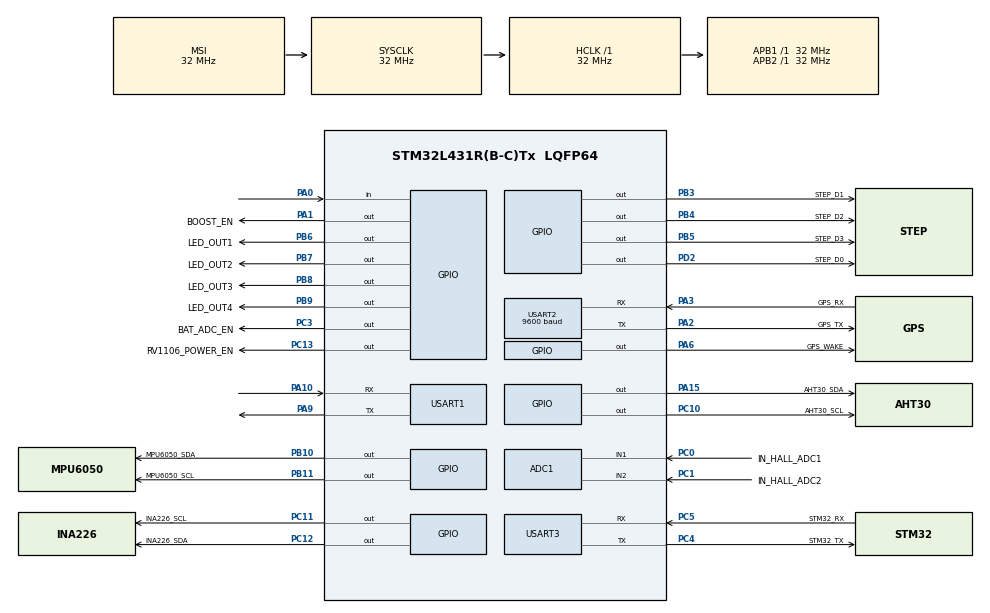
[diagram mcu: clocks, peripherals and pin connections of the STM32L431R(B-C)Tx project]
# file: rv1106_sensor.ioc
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ADC1.Channel-0\#ChannelRegularConversion=ADC_CHANNEL_1
ADC1.ClockPrescaler=ADC_CLOCK_ASYNC_DIV2
ADC1.NbrOfConversionFlag=1
ADC1.OffsetNumber-0\#ChannelRegularConversion=ADC_OFFSET_NONE
ADC1.OversamplingMode=ENABLE
ADC1.Rank-0\#ChannelRegularConversion=1
ADC1.SamplingTime-0\#ChannelRegularConversion=ADC_SAMPLETIME_2CYCLES_5
ADC1.master=1
Dma.Request0=USART1_RX
Dma.Request1=USART2_RX
Dma.Request2=USART3_RX
Dma.USART1_RX.0.Direction=DMA_PERIPH_TO_MEMORY
Dma.USART1_RX.0.Instance=DMA1_Channel5
Dma.USART1_RX.0.MemDataAlignment=DMA_MDATAALIGN_BYTE
Dma.USART1_RX.0.MemInc=DMA_MINC_ENABLE
Dma.USART1_RX.0.Mode=DMA_NORMAL
Dma.USART1_RX.0.PeriphDataAlignment=DMA_PDATAALIGN_BYTE
Dma.USART1_RX.0.PeriphInc=DMA_PINC_DISABLE
Dma.USART1_RX.0.Priority=DMA_PRIORITY_LOW
Dma.USART2_RX.1.Direction=DMA_PERIPH_TO_MEMORY
Dma.USART2_RX.1.Instance=DMA1_Channel6
Dma.USART2_RX.1.MemDataAlignment=DMA_MDATAALIGN_BYTE
Dma.USART2_RX.1.MemInc=DMA_MINC_ENABLE
Dma.USART2_RX.1.Mode=DMA_NORMAL
Dma.USART2_RX.1.PeriphDataAlignment=DMA_PDATAALIGN_BYTE
Dma.USART2_RX.1.PeriphInc=DMA_PINC_DISABLE
Dma.USART2_RX.1.Priority=DMA_PRIORITY_LOW
Dma.USART3_RX.2.Direction=DMA_PERIPH_TO_MEMORY
Dma.USART3_RX.2.Instance=DMA1_Channel3
Dma.USART3_RX.2.MemDataAlignment=DMA_MDATAALIGN_BYTE
Dma.USART3_RX.2.MemInc=DMA_MINC_ENABLE
Dma.USART3_RX.2.Mode=DMA_NORMAL
Dma.USART3_RX.2.PeriphDataAlignment=DMA_PDATAALIGN_BYTE
Dma.USART3_RX.2.PeriphInc=DMA_PINC_DISABLE
Dma.USART3_RX.2.Priority=DMA_PRIORITY_LOW
FREERTOS.Tasks01=defaultTask,0,2048,StartDefaultTask,Default,NULL,Dynamic,NULL,NULL
FREERTOS.configTOTAL_HEAP_SIZE=10240
Mcu.Family=STM32L4
Mcu.Name=STM32L431R(B-C)Tx
Mcu.Package=LQFP64
NVIC.DMA1_Channel3_IRQn=true\:5\:0\:false\:false\:true\:true\:false\:true\:true
NVIC.DMA1_Channel5_IRQn=true\:5\:0\:false\:false\:true\:true\:false\:true\:true
NVIC.DMA1_Channel6_IRQn=true\:5\:0\:false\:false\:true\:true\:false\:true\:true
NVIC.PriorityGroup=NVIC_PRIORITYGROUP_4
NVIC.TIM6_DAC_IRQn=true\:15\:0\:false\:false\:true\:false\:false\:true\:true
NVIC.TimeBase=TIM6_DAC_IRQn
NVIC.TimeBaseIP=TIM6
NVIC.USART1_IRQn=true\:5\:0\:false\:false\:true\:true\:true\:true\:true
NVIC.USART2_IRQn=true\:5\:0\:false\:false\:true\:true\:true\:true\:true
NVIC.USART3_IRQn=true\:5\:0\:false\:false\:true\:true\:true\:true\:true
PA0.GPIO_PuPd=GPIO_PULLDOWN
PA0.Signal=GPIO_Input
PA1.GPIO_Label=BOOST_EN
PA1.Signal=GPIO_Output
PA10.Mode=Asynchronous
PA10.Signal=USART1_RX
PA13\ (JTMS-SWDIO).Mode=Serial_Wire
PA13\ (JTMS-SWDIO).Signal=SYS_JTMS-SWDIO
PA14\ (JTCK-SWCLK).Mode=Serial_Wire
PA14\ (JTCK-SWCLK).Signal=SYS_JTCK-SWCLK
PA15\ (JTDI).GPIO_Label=AHT30_SDA
PA15\ (JTDI).Signal=GPIO_Output
PA2.GPIO_Label=GPS_TX
PA2.Mode=Asynchronous
PA2.Signal=USART2_TX
PA3.GPIO_Label=GPS_RX
PA3.Mode=Asynchronous
PA3.Signal=USART2_RX
PA6.GPIO_Label=GPS_WAKE
PA6.Signal=GPIO_Output
PA9.Mode=Asynchronous
PA9.Signal=USART1_TX
PB10.GPIO_Label=MPU6050_SDA
PB10.Signal=GPIO_Output
PB11.GPIO_Label=MPU6050_SCL
PB11.Signal=GPIO_Output
PB3\ (JTDO-TRACESWO).GPIO_Label=STEP_D1
PB3\ (JTDO-TRACESWO).Signal=GPIO_Output
PB4\ (NJTRST).GPIO_Label=STEP_D2
PB4\ (NJTRST).Signal=GPIO_Output
PB5.GPIO_Label=STEP_D3
PB5.Signal=GPIO_Output
PB6.GPIO_Label=LED_OUT1
PB6.Signal=GPIO_Output
PB7.GPIO_Label=LED_OUT2
PB7.Signal=GPIO_Output
PB8.GPIO_Label=LED_OUT3
PB8.Signal=GPIO_Output
PB9.GPIO_Label=LED_OUT4
PB9.Signal=GPIO_Output
PC0.GPIO_Label=IN_HALL_ADC1
PC0.Signal=ADCx_IN1
PC1.GPIO_Label=IN_HALL_ADC2
PC1.Signal=ADCx_IN2
PC10.GPIO_Label=AHT30_SCL
PC10.Signal=GPIO_Output
PC11.GPIO_Label=INA226_SCL
PC11.Signal=GPIO_Output
PC12.GPIO_Label=INA226_SDA
PC12.Signal=GPIO_Output
PC13.GPIO_Label=RV1106_POWER_EN
PC13.Signal=GPIO_Output
PC14-OSC32_IN\ (PC14).Mode=LSE-External-Oscillator
PC14-OSC32_IN\ (PC14).Signal=RCC_OSC32_IN
PC15-OSC32_OUT\ (PC15).Mode=LSE-External-Oscillator
PC15-OSC32_OUT\ (PC15).Signal=RCC_OSC32_OUT
PC3.GPIO_Label=BAT_ADC_EN
PC3.Signal=GPIO_Output
PC4.GPIO_Label=STM32_TX
PC4.Mode=Asynchronous
PC4.Signal=USART3_TX
PC5.GPIO_Label=STM32_RX
PC5.Mode=Asynchronous
PC5.Signal=USART3_RX
PD2.GPIO_Label=STEP_D0
PD2.Signal=GPIO_Output
PH0-OSC_IN\ (PH0).Mode=HSE-External-Oscillator
PH0-OSC_IN\ (PH0).Signal=RCC_OSC_IN
PH1-OSC_OUT\ (PH1).Mode=HSE-External-Oscillator
PH1-OSC_OUT\ (PH1).Signal=RCC_OSC_OUT
ProjectManager.HeapSize=0x4000
ProjectManager.StackSize=0x2000
ProjectManager.TargetToolchain=MDK-ARM V5.32
RCC.ADCFreq_Value=64000000
RCC.AHBFreq_Value=32000000
RCC.APB1Freq_Value=32000000
RCC.APB1TimFreq_Value=32000000
RCC.APB2Freq_Value=32000000
RCC.APB2TimFreq_Value=32000000
RCC.CortexFreq_Value=32000000
RCC.HCLKFreq_Value=32000000
RCC.HSE_VALUE=8000000
RCC.HSI48_VALUE=48000000
RCC.HSI_VALUE=16000000
RCC.MSIClockRange=RCC_MSIRANGE_10
RCC.MSI_VALUE=32000000
RCC.PLLM=2
RCC.SYSCLKFreq_VALUE=32000000
RCC.VCOOutputFreq_Value=128000000
SH.ADCx_IN1.0=ADC1_IN1,IN1-Single-Ended
SH.ADCx_IN2.0=ADC1_IN2,IN2-Single-Ended
USART1.VirtualMode-Asynchronous=VM_ASYNC
USART2.BaudRate=9600
USART2.VirtualMode-Asynchronous=VM_ASYNC
USART3.VirtualMode-Asynchronous=VM_ASYNC
VP_FREERTOS_VS_CMSIS_V1.Mode=CMSIS_V1
VP_SYS_VS_tim6.Mode=TIM6
board=custom

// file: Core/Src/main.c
/* USER CODE BEGIN Header */
/**
  ******************************************************************************
  * @file           : main.c
  * @brief          : Main program body
  ******************************************************************************
  * @attention
  *
  * Copyright (c) 2026 STMicroelectronics.
  * All rights reserved.
  *
  * This software is licensed under terms that can be found in the LICENSE file
  * in the root directory of this software component.
  * If no LICENSE file comes with this software, it is provided AS-IS.
  *
  ******************************************************************************
  */
/* USER CODE END Header */
#include "main.h"
#include "cmsis_os.h"
#include "adc.h"
#include "dma.h"
#include "usart.h"
#include "gpio.h"

/* USER CODE BEGIN Includes */
#include <stdio.h>
#include "bsp_power.h"
#include "soft_i2c.h"
#include "mpu6050.h"
#include "aht30.h"
#include "ina226.h"
#include "gps_module.h"
#include "bsp_adc.h"
#include "stepper.h"
/* USER CODE END Includes */

/* USER CODE BEGIN PV */
SoftI2C_Handle_t hi2c_mpu = {GPIOB, GPIO_PIN_11, GPIOB, GPIO_PIN_10}; // MPU6050: SCL=PB11, SDA=PB10
SoftI2C_Handle_t hi2c_aht = {GPIOC, GPIO_PIN_10, GPIOA, GPIO_PIN_15}; // AHT30: SCL=PC10, SDA=PA15
SoftI2C_Handle_t hi2c_ina = {GPIOC, GPIO_PIN_11, GPIOC, GPIO_PIN_12}; // INA226: SCL=PC11, SDA=PC12
/* USER CODE END PV */

void SystemClock_Config(void);
void MX_FREERTOS_Init(void);

/* USER CODE BEGIN 0 */
#ifdef __GNUC__
/* With GCC, small printf (option LD Linker->Libraries->Small printf
   set to 'Yes') calls __io_putchar() */
int __io_putchar(int ch)
#else
int fputc(int ch, FILE *f)
#endif /* __GNUC__ */
{
  /* Place your implementation of fputc here */
  /* e.g. write a character to the USART1 and Loop until the end of transmission */
  HAL_UART_Transmit(&huart1, (uint8_t *)&ch, 1, HAL_MAX_DELAY);
  return ch;
}

// Support for printf in some GCC environments without syscalls
int _write(int file, char *ptr, int len) {
    HAL_UART_Transmit(&huart1, (uint8_t *)ptr, len, HAL_MAX_DELAY);
    return len;
}
/* USER CODE END 0 */

int main(void)
{

  /* MCU Configuration--------------------------------------------------------*/

  /* Reset of all peripherals, Initializes the Flash interface and the Systick. */
  HAL_Init();

  /* Configure the system clock */
  SystemClock_Config();

  /* Initialize all configured peripherals */
  MX_GPIO_Init();
  MX_DMA_Init();
  MX_ADC1_Init();
  MX_USART1_UART_Init();
  MX_USART2_UART_Init();
  MX_USART3_UART_Init();
  /* USER CODE BEGIN 2 */
  printf("\r\n=== STM32 Sensor Hub Test Start ===\r\n");

  // 1. Power Up Sensors
  BSP_Power_Init();
  BSP_Power_SetSensorPower(1);
  BSP_Power_SetRV1106Power(1);
  HAL_Delay(200);

  // 2. Initialize I2C Buses
  SoftI2C_Init(&hi2c_mpu);
  SoftI2C_Init(&hi2c_aht);
  SoftI2C_Init(&hi2c_ina);

  // 3. Initialize Sensors
  if (MPU6050_Init(&hi2c_mpu) == 0) {
      printf("MPU6050 Init OK\r\n");
  }

  if (AHT30_Init(&hi2c_aht) == 0) {
      printf("AHT30 Init OK\r\n");
  }

  if (INA226_Init(&hi2c_ina) == 0) {
      printf("INA226 Init OK\r\n");
  }

  // 4. Initialize Stepper
  Stepper_Init();

  // 5. Initialize GPS (Already powered by SensorPower)
  GPS_Init();

  /* USER CODE END 2 */

  /* Call init function for freertos objects (in cmsis_os2.c) */
  MX_FREERTOS_Init();

  /* Start scheduler */
  osKernelStart();

  /* We should never get here as control is now taken by the scheduler */

  /* Infinite loop */
  while (1)
  {

  }
}

void SystemClock_Config(void)
{
  RCC_OscInitTypeDef RCC_OscInitStruct = {0};
  RCC_ClkInitTypeDef RCC_ClkInitStruct = {0};

  /** Configure the main internal regulator output voltage
  */
  if (HAL_PWREx_ControlVoltageScaling(PWR_REGULATOR_VOLTAGE_SCALE1) != HAL_OK)
  {
    Error_Handler();
  }

  /** Configure LSE Drive Capability
  */
  HAL_PWR_EnableBkUpAccess();
  __HAL_RCC_LSEDRIVE_CONFIG(RCC_LSEDRIVE_LOW);

  /** Initializes the RCC Oscillators according to the specified parameters
  * in the RCC_OscInitTypeDef structure.
  */
  RCC_OscInitStruct.OscillatorType = RCC_OSCILLATORTYPE_LSE|RCC_OSCILLATORTYPE_MSI;
  RCC_OscInitStruct.LSEState = RCC_LSE_ON;
  RCC_OscInitStruct.MSIState = RCC_MSI_ON;
  RCC_OscInitStruct.MSICalibrationValue = 0;
  RCC_OscInitStruct.MSIClockRange = RCC_MSIRANGE_10;
  RCC_OscInitStruct.PLL.PLLState = RCC_PLL_NONE;
  if (HAL_RCC_OscConfig(&RCC_OscInitStruct) != HAL_OK)
  {
    Error_Handler();
  }

  /** Initializes the CPU, AHB and APB buses clocks
  */
  RCC_ClkInitStruct.ClockType = RCC_CLOCKTYPE_HCLK|RCC_CLOCKTYPE_SYSCLK
                              |RCC_CLOCKTYPE_PCLK1|RCC_CLOCKTYPE_PCLK2;
  RCC_ClkInitStruct.SYSCLKSource = RCC_SYSCLKSOURCE_MSI;
  RCC_ClkInitStruct.AHBCLKDivider = RCC_SYSCLK_DIV1;
  RCC_ClkInitStruct.APB1CLKDivider = RCC_HCLK_DIV1;
  RCC_ClkInitStruct.APB2CLKDivider = RCC_HCLK_DIV1;

  if (HAL_RCC_ClockConfig(&RCC_ClkInitStruct, FLASH_LATENCY_1) != HAL_OK)
  {
    Error_Handler();
  }

  /** Enable MSI Auto calibration
  */
  HAL_RCCEx_EnableMSIPLLMode();
}

void HAL_TIM_PeriodElapsedCallback(TIM_HandleTypeDef *htim)
{
  if (htim->Instance == TIM6)
  {
    HAL_IncTick();
  }
}

void Error_Handler(void)
{
  __disable_irq();
  while (1)
  {
  }
}

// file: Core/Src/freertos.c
/* USER CODE BEGIN Header */
/**
  ******************************************************************************
  * File Name          : freertos.c
  * Description        : Code for freertos applications
  ******************************************************************************
  * @attention
  *
  * Copyright (c) 2026 STMicroelectronics.
  * All rights reserved.
  *
  * This software is licensed under terms that can be found in the LICENSE file
  * in the root directory of this software component.
  * If no LICENSE file comes with this software, it is provided AS-IS.
  *
  ******************************************************************************
  */
/* USER CODE END Header */

#include "FreeRTOS.h"
#include "task.h"
#include "main.h"
#include "cmsis_os.h"

/* USER CODE BEGIN Includes */
#include <stdio.h>
#include "protocol.h"
#include "stepper.h"
#include "bsp_adc.h"
#include "gps_module.h"
#include "ina226.h"
#include "aht30.h"
#include "mpu6050.h"
#include "soft_i2c.h"
#include "bsp_power.h"
#include "task_queue.h"
#include "key_handler.h"
#include "business_handler.h"
#include "led_handler.h"
#include "json_parser.h"
#include "usart1_handler.h"
#include "protocol.h"
#include "aht30.h"
#include "ina226.h"
#include "bsp_adc.h"
#include "stepper.h"
#include <math.h>

extern SoftI2C_Handle_t hi2c_mpu;
extern SoftI2C_Handle_t hi2c_aht;
extern SoftI2C_Handle_t hi2c_ina;

extern uint8_t g_usart2_rx_buf[];
extern volatile uint16_t g_usart2_rx_len;
extern volatile uint8_t g_usart2_data_ready;

extern uint8_t g_usart3_rx_buf[];
extern volatile uint16_t g_usart3_rx_len;
extern volatile uint8_t g_usart3_data_ready;
/* USER CODE END Includes */

/* USER CODE BEGIN Variables */
osThreadId gpsBridgeTaskHandle;
osThreadId ledBlinkTaskHandle;
osThreadId keyScanTaskHandle;
volatile uint32_t g_pc1_adc = 0;
volatile float g_gps_lat = 0.0f;
volatile float g_gps_lon = 0.0f;
volatile uint8_t g_gps_sat = 0;
/* USER CODE END Variables */
osThreadId defaultTaskHandle;

/* USER CODE BEGIN FunctionPrototypes */

void StartGpsBridgeTask(void const * argument);
void StartLedBlinkTask(void const * argument);
void StartKeyScanTask(void const * argument);
void JsonParser_Task(void const * argument);
void Usart1Handler_Task(void const * argument);
void SensorReport_Task(void const * argument);
/* USER CODE END FunctionPrototypes */

void StartDefaultTask(void const * argument);

void MX_FREERTOS_Init(void); /* (MISRA C 2004 rule 8.1) */

/* GetIdleTaskMemory prototype (linked to static allocation support) */
void vApplicationGetIdleTaskMemory( StaticTask_t **ppxIdleTaskTCBBuffer, StackType_t **ppxIdleTaskStackBuffer, uint32_t *pulIdleTaskStackSize );

/* USER CODE BEGIN GET_IDLE_TASK_MEMORY */
static StaticTask_t xIdleTaskTCBBuffer;
static StackType_t xIdleStack[configMINIMAL_STACK_SIZE];

void vApplicationGetIdleTaskMemory( StaticTask_t **ppxIdleTaskTCBBuffer, StackType_t **ppxIdleTaskStackBuffer, uint32_t *pulIdleTaskStackSize )
{
  *ppxIdleTaskTCBBuffer = &xIdleTaskTCBBuffer;
  *ppxIdleTaskStackBuffer = &xIdleStack[0];
  *pulIdleTaskStackSize = configMINIMAL_STACK_SIZE;
  /* place for user code */
}
/* USER CODE END GET_IDLE_TASK_MEMORY */

void MX_FREERTOS_Init(void) {

  /* USER CODE BEGIN RTOS_QUEUES */
  /* add queues, ... */
  TaskQueue_Init();
  /* USER CODE END RTOS_QUEUES */

  /* Create the thread(s) */
  /* definition and creation of defaultTask */
  osThreadDef(defaultTask, StartDefaultTask, osPriorityNormal, 0, 2048);
  defaultTaskHandle = osThreadCreate(osThread(defaultTask), NULL);

  /* USER CODE BEGIN RTOS_THREADS */
  osThreadDef(gpsBridgeTask, StartGpsBridgeTask, osPriorityLow, 0, 512);
  gpsBridgeTaskHandle = osThreadCreate(osThread(gpsBridgeTask), NULL);
  if (gpsBridgeTaskHandle == NULL) {
  }
  osThreadDef(ledBlinkTask, StartLedBlinkTask, osPriorityNormal, 0, 512);
  ledBlinkTaskHandle = osThreadCreate(osThread(ledBlinkTask), NULL);
  if (ledBlinkTaskHandle == NULL) {
  }
  osThreadDef(keyScanTask, KeyHandler_ScanTask, osPriorityNormal, 0, 512);
  keyScanTaskHandle = osThreadCreate(osThread(keyScanTask), NULL);
  if (keyScanTaskHandle == NULL) {
  }
  osThreadDef(businessTask, BusinessHandler_Task, osPriorityNormal, 0, 512);
  osThreadCreate(osThread(businessTask), NULL);
  osThreadDef(ledTask, LedHandler_Task, osPriorityLow, 0, 256);
  osThreadCreate(osThread(ledTask), NULL);
  osThreadDef(jsonTask, JsonParser_Task, osPriorityNormal, 0, 512);
  osThreadCreate(osThread(jsonTask), NULL);
  osThreadDef(usart1Task, Usart1Handler_Task, osPriorityNormal, 0, 512);
  osThreadCreate(osThread(usart1Task), NULL);
  osThreadDef(sensorReportTask, SensorReport_Task, osPriorityNormal, 0, 1024);
  osThreadCreate(osThread(sensorReportTask), NULL);
  /* USER CODE END RTOS_THREADS */

}

void StartDefaultTask(void const * argument)
{
  for(;;)
  {
    osDelay(1);
  }
}

/* USER CODE BEGIN Application */
void StartGpsBridgeTask(void const * argument)
{
  char nmea_buf[128];
  uint16_t idx = 0;
  GPS_Data_t gps_data;

  printf("GPS Bridge Task Started (DMA+IDLE)\r\n");

  for(;;)
  {
    if (g_usart2_data_ready) {
      g_usart2_data_ready = 0;

      if (g_usart2_rx_len > 0) {
        /* 处理接收到的数据 */
        for (uint16_t i = 0; i < g_usart2_rx_len; i++) {
          char c = (char)g_usart2_rx_buf[i];
          if (c == '\n' || c == '\r') {
            if (idx > 0) {
              nmea_buf[idx] = '\0';
              if (GPS_ParseGNGGA(nmea_buf, &gps_data) == 0) {
                taskENTER_CRITICAL();
                g_gps_lat = gps_data.Latitude;
                g_gps_lon = gps_data.Longitude;
                g_gps_sat = gps_data.Satellites;
                taskEXIT_CRITICAL();

                /* 打印GPS数据到串口 */
                printf("GPS_DATA: lat=%.6f, lon=%.6f, sat=%d\r\n",
                       gps_data.Latitude, gps_data.Longitude, gps_data.Satellites);
              }
              idx = 0;
            }
          } else {
            if (idx < (sizeof(nmea_buf) - 1)) {
              nmea_buf[idx++] = c;
            } else {
              idx = 0;
            }
          }
        }
      }
    }

    osDelay(10);
  }
}

/**
 * LED 闪烁任务（主功能描述）
 * @param {void const *} argument - 任务参数（未使用）
 * @returns {void} 无返回值
 */
void StartLedBlinkTask(void const * argument)
{
  uint8_t led_on = 0;

  for(;;)
  {
    led_on = !led_on;
    HAL_GPIO_WritePin(GPIOB, LED_OUT1_Pin|LED_OUT2_Pin|LED_OUT3_Pin|LED_OUT4_Pin, led_on ? GPIO_PIN_RESET : GPIO_PIN_SET);
    osDelay(500);
  }
}

/**
 * LED处理任务
 * @param argument 任务参数（未使用）
 */
void LedHandler_Task(void const * argument)
{
    extern volatile float g_gps_lat;
    extern volatile float g_gps_lon;
    extern volatile uint8_t g_gps_sat;

    TickType_t last_tick = xTaskGetTickCount();

    /* 初始化LED */
    LedHandler_Init();

    for(;;)
    {
        /* 更新系统LED（每100ms闪烁） */
        LedHandler_UpdateSystemLed();

        /* 每500ms更新一次GPS LED */
        TickType_t now = xTaskGetTickCount();
        if ((now - last_tick) >= 500) {
            last_tick = now;
            LedHandler_UpdateGpsLed(g_gps_sat);
        }

        osDelay(100);
    }
}

/**
 * 内存分配失败钩子（主功能描述）
 * @returns {void} 无返回值
 */
void vApplicationMallocFailedHook(void)
{
  HAL_GPIO_WritePin(GPIOB, LED_OUT1_Pin|LED_OUT2_Pin|LED_OUT3_Pin|LED_OUT4_Pin, GPIO_PIN_RESET);
  printf("MallocFailedHook\r\n");
  for(;;)
  {
  }
}

/**
 * 栈溢出钩子（主功能描述）
 * @param {TaskHandle_t} xTask - 发生溢出的任务句柄
 * @param {char *} pcTaskName - 发生溢出的任务名
 * @returns {void} 无返回值
 */
void vApplicationStackOverflowHook(TaskHandle_t xTask, char *pcTaskName)
{
  (void)xTask;
  (void)pcTaskName;
  HAL_GPIO_WritePin(GPIOB, LED_OUT1_Pin|LED_OUT2_Pin|LED_OUT3_Pin|LED_OUT4_Pin, GPIO_PIN_RESET);
  printf("StackOverflowHook\r\n");
  for(;;)
  {
  }
}

/* 姿态解算变量 - 互补滤波 */
static float roll_angle = 0.0f;
static float pitch_angle = 0.0f;
static float yaw_angle = 0.0f;

/**
 * @brief 使用互补滤波计算姿态角
 * @param ax, ay, az 加速度 (g)
 * @param gx, gy, gz 角速度 (°/s)
 * @param dt 时间间隔 (s)
 * @param roll, pitch, yaw 输出姿态角
 *
 * 原理：
 * - 加速度计：测量重力方向，静态准确，动态受干扰
 * - 陀螺仪：测量旋转角速度，积分得角度，但会漂移
 * - 互补滤波：高频用陀螺仪，低频用加速度计
 */
static void CalculateAttitude(float ax, float ay, float az,
                               float gx, float gy, float gz,
                               float dt,
                               float *roll, float *pitch, float *yaw)
{
    /* 1. 加速度计计算姿态角（只在静态时准确）
     *
     * 当设备静止时，加速度计只测到重力加速度(0,0,1g)
     * 倾斜时，重力分量分布在三个轴上
     *
     * roll:  绕X轴旋转，由Y和Z轴重力分量决定
     * pitch: 绕Y轴旋转，由X和Z轴重力分量决定
     */
    float acc_pitch = atan2f(ay, az) * 57.29578f;  /* rad to deg */
    float acc_roll = atan2f(-ax, sqrtf(ay * ay + az * az)) * 57.29578f;

    /* 2. 互补滤波系数
     *
     * tau = 时间常数，决定信任陀螺仪还是加速度计
     * alpha = tau / (tau + dt)
     *
     * 如果dt=1s，tau=0.1s：
     * alpha = 0.1 / (0.1 + 1) = 0.09
     * 意味着主要信任加速度计（91%），陀螺仪只用于短期修正（9%）
     */
    const float tau = 0.1f;  /* 时间常数0.1秒 */
    float alpha = tau / (tau + dt);
    float beta = 1.0f - alpha;

    /* 3. 互补滤波融合
     *
     * 新角度 = 陀螺仪积分角度 * alpha + 加速度计角度 * beta
     *
     * 陀螺仪积分：当前角度 + 角速度 * 时间
     * 这给出了短时间内的精确变化*/
   /* 互补滤波融合
     *
     * 注意：陀螺仪的gx对应pitch变化，gy对应roll变化
     * 当设备绕X轴旋转(roll)时，Y轴陀螺仪有输出
     * 当设备绕Y轴旋转(pitch)时，X轴陀螺仪有输出
     *
     * roll取反：使翻滚方向与右手定则一致
     * pitch取反：使俯仰方向与右手定则一致
     */
    pitch_angle = -(alpha * (pitch_angle + gx * dt) + beta * acc_pitch);
    roll_angle = -(alpha * (roll_angle + gy * dt) + beta * acc_roll);

    /* 4. 偏航角（Yaw）
     *
     * 偏航角是绕Z轴旋转，重力方向不变，所以加速度计无法测量
     * 只能靠陀螺仪积分，会随时间漂移
     * 如果需要准确偏航角，需要磁力计（电子罗盘）
     */
    yaw_angle = yaw_angle + gz * dt;

    /* 限制角度范围在 -180 ~ +180 度 */
    while (roll_angle > 180.0f) roll_angle -= 360.0f;
    while (roll_angle < -180.0f) roll_angle += 360.0f;
    while (pitch_angle > 180.0f) pitch_angle -= 360.0f;
    while (pitch_angle < -180.0f) pitch_angle += 360.0f;
    while (yaw_angle > 180.0f) yaw_angle -= 360.0f;
    while (yaw_angle < -180.0f) yaw_angle += 360.0f;

    /* 输出 */
    *roll = roll_angle;
    *pitch = pitch_angle;
    *yaw = yaw_angle;
}

/**
 * @brief 传感器数据上报任务
 * @details 每秒采集一次所有传感器数据，并以JSON格式发送到串口3
 * @param argument 任务参数（未使用）
 */
void SensorReport_Task(void const * argument)
{
    Sensor_Report_t report;
    MPU6050_Data_t mpu_data;
    AHT30_Data_t aht_data;
    INA226_Data_t ina_data;
    uint32_t last_sensor_read = 0;
    uint32_t last_json_send = 0;
    uint32_t current_time;

    printf("Sensor Report Task Started (1Hz to USART3)\r\n");

    /* 初始化时间 */
    last_sensor_read = HAL_GetTick();

    for(;;)
    {
        current_time = HAL_GetTick();

        /* 每100ms读取一次MPU6050并进行姿态解算（10Hz）
         * 这样陀螺仪积分的时间间隔短，误差小
         */
        if ((current_time - last_sensor_read) >= 100) {
            float dt = (current_time - last_sensor_read) / 1000.0f;  /* ms to s */
            last_sensor_read = current_time;

            /* 读取MPU6050数据 */
            MPU6050_Read_All(&hi2c_mpu, &mpu_data);
            report.acc_x = mpu_data.Ax;
            report.acc_y = mpu_data.Ay;
            report.acc_z = mpu_data.Az;
            report.gyro_x = mpu_data.Gx;
            report.gyro_y = mpu_data.Gy;
            report.gyro_z = mpu_data.Gz;
            report.mpu_temp = mpu_data.Temperature;

            /* 姿态解算（10Hz更新） */
            CalculateAttitude(mpu_data.Ax, mpu_data.Ay, mpu_data.Az,
                              mpu_data.Gx, mpu_data.Gy, mpu_data.Gz,
                              dt,
                              &report.roll, &report.pitch, &report.yaw);
        }

        /* 每1000ms发送一次JSON数据（1Hz） */
        if ((current_time - last_json_send) >= 1000) {
            last_json_send = current_time;

            /* 读取其他传感器数据 */
            AHT30_Read_Data(&hi2c_aht, &aht_data);
            report.temp_c = aht_data.Temperature;
            report.humi_pct = aht_data.Humidity;

            INA226_Read_Data(&hi2c_ina, &ina_data);
            report.bus_voltage_v = ina_data.Voltage_V;
            report.shunt_voltage_mv = ina_data.ShuntVoltage_mV;
            report.current_a = ina_data.Current_A;
            report.power_w = ina_data.Power_W;

            report.battery_v = BSP_GetBatteryVoltage();
            report.hall1_val = BSP_GetHallSensor1();
            report.hall2_val = BSP_GetHallSensor2();

            taskENTER_CRITICAL();
            report.latitude = g_gps_lat;
            report.longitude = g_gps_lon;
            report.satellites = g_gps_sat;
            taskEXIT_CRITICAL();

            report.stepper_angle = Stepper_GetAngle();

            /* 发送JSON数据到串口3 */
            Protocol_SendSensorData(&report);
        }

        osDelay(10);  /* 10ms循环一次 */
    }
}

/**
 * FreeRTOS 断言钩子（主功能描述）
 * @param {const char *} file - 触发断言的文件名
 * @param {int} line - 触发断言的行号
 * @returns {void} 无返回值
 */
void vAssertCalled(const char *file, int line)
{
  (void)file;
  (void)line;
  HAL_GPIO_WritePin(GPIOB, LED_OUT1_Pin|LED_OUT2_Pin|LED_OUT3_Pin|LED_OUT4_Pin, GPIO_PIN_RESET);
  printf("FreeRTOS ASSERT\r\n");
}

/* USER CODE END Application */
